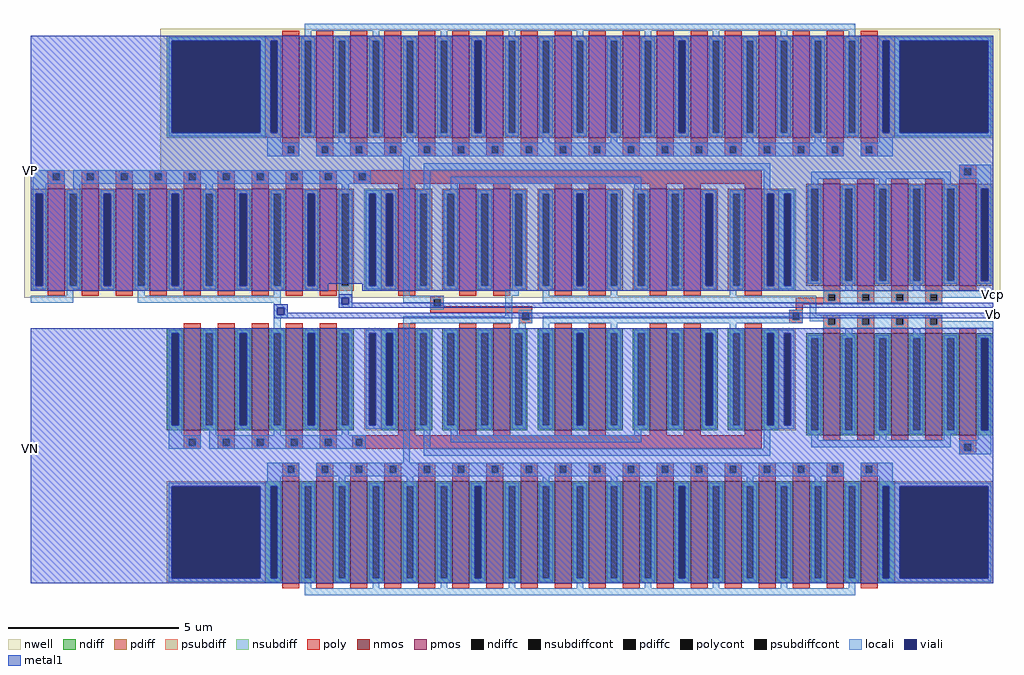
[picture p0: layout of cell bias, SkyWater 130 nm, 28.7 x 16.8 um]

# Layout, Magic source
magic
tech sky130A
<< nwell >>
rect -360 1175 2110 1590
rect -760 800 2110 1175
<< nmos >>
rect -290 410 -240 710
rect -190 410 -140 710
rect -90 410 -40 710
rect 10 410 60 710
rect 110 410 160 710
rect 340 410 390 710
rect 520 410 570 710
rect 620 410 670 710
rect 800 410 850 710
rect 900 410 950 710
rect 1080 410 1130 710
rect 1180 410 1230 710
rect 1360 410 1410 710
rect 1590 395 1640 695
rect 1690 395 1740 695
rect 1790 395 1840 695
rect 1890 395 1940 695
rect 1990 395 2040 695
rect 0 -40 50 260
rect 100 -40 150 260
rect 200 -40 250 260
rect 300 -40 350 260
rect 400 -40 450 260
rect 500 -40 550 260
rect 600 -40 650 260
rect 700 -40 750 260
rect 800 -40 850 260
rect 900 -40 950 260
rect 1000 -40 1050 260
rect 1100 -40 1150 260
rect 1200 -40 1250 260
rect 1300 -40 1350 260
rect 1400 -40 1450 260
rect 1500 -40 1550 260
rect 1600 -40 1650 260
rect 1700 -40 1750 260
<< pmos >>
rect 0 1270 50 1570
rect 100 1270 150 1570
rect 200 1270 250 1570
rect 300 1270 350 1570
rect 400 1270 450 1570
rect 500 1270 550 1570
rect 600 1270 650 1570
rect 700 1270 750 1570
rect 800 1270 850 1570
rect 900 1270 950 1570
rect 1000 1270 1050 1570
rect 1100 1270 1150 1570
rect 1200 1270 1250 1570
rect 1300 1270 1350 1570
rect 1400 1270 1450 1570
rect 1500 1270 1550 1570
rect 1600 1270 1650 1570
rect 1700 1270 1750 1570
rect -690 820 -640 1120
rect -590 820 -540 1120
rect -490 820 -440 1120
rect -390 820 -340 1120
rect -290 820 -240 1120
rect -190 820 -140 1120
rect -90 820 -40 1120
rect 10 820 60 1120
rect 110 820 160 1120
rect 340 820 390 1120
rect 520 820 570 1120
rect 620 820 670 1120
rect 800 820 850 1120
rect 900 820 950 1120
rect 1080 820 1130 1120
rect 1180 820 1230 1120
rect 1360 820 1410 1120
rect 1590 835 1640 1135
rect 1690 835 1740 1135
rect 1790 835 1840 1135
rect 1890 835 1940 1135
rect 1990 835 2040 1135
<< ndiff >>
rect -340 695 -290 710
rect -340 425 -325 695
rect -305 425 -290 695
rect -340 410 -290 425
rect -240 695 -190 710
rect -240 425 -225 695
rect -205 425 -190 695
rect -240 410 -190 425
rect -140 695 -90 710
rect -140 425 -125 695
rect -105 425 -90 695
rect -140 410 -90 425
rect -40 695 10 710
rect -40 425 -25 695
rect -5 425 10 695
rect -40 410 10 425
rect 60 695 110 710
rect 60 425 75 695
rect 95 425 110 695
rect 60 410 110 425
rect 160 695 210 710
rect 160 425 175 695
rect 195 425 210 695
rect 160 410 210 425
rect 290 695 340 710
rect 290 425 305 695
rect 325 425 340 695
rect 290 410 340 425
rect 390 695 440 710
rect 390 425 405 695
rect 425 425 440 695
rect 390 410 440 425
rect 470 695 520 710
rect 470 425 485 695
rect 505 425 520 695
rect 470 410 520 425
rect 570 695 620 710
rect 570 425 585 695
rect 605 425 620 695
rect 570 410 620 425
rect 670 695 720 710
rect 670 425 685 695
rect 705 425 720 695
rect 670 410 720 425
rect 750 695 800 710
rect 750 425 765 695
rect 785 425 800 695
rect 750 410 800 425
rect 850 695 900 710
rect 850 425 865 695
rect 885 425 900 695
rect 850 410 900 425
rect 950 695 1000 710
rect 950 425 965 695
rect 985 425 1000 695
rect 950 410 1000 425
rect 1030 695 1080 710
rect 1030 425 1045 695
rect 1065 425 1080 695
rect 1030 410 1080 425
rect 1130 695 1180 710
rect 1130 425 1145 695
rect 1165 425 1180 695
rect 1130 410 1180 425
rect 1230 695 1280 710
rect 1230 425 1245 695
rect 1265 425 1280 695
rect 1230 410 1280 425
rect 1310 695 1360 710
rect 1310 425 1325 695
rect 1345 425 1360 695
rect 1310 410 1360 425
rect 1410 695 1460 710
rect 1410 425 1425 695
rect 1445 425 1460 695
rect 1410 410 1460 425
rect 1540 680 1590 695
rect 1540 410 1555 680
rect 1575 410 1590 680
rect 1540 395 1590 410
rect 1640 680 1690 695
rect 1640 410 1655 680
rect 1675 410 1690 680
rect 1640 395 1690 410
rect 1740 680 1790 695
rect 1740 410 1755 680
rect 1775 410 1790 680
rect 1740 395 1790 410
rect 1840 680 1890 695
rect 1840 410 1855 680
rect 1875 410 1890 680
rect 1840 395 1890 410
rect 1940 680 1990 695
rect 1940 410 1955 680
rect 1975 410 1990 680
rect 1940 395 1990 410
rect 2040 680 2090 695
rect 2040 410 2055 680
rect 2075 410 2090 680
rect 2040 395 2090 410
rect -50 245 0 260
rect -50 -25 -35 245
rect -15 -25 0 245
rect -50 -40 0 -25
rect 50 245 100 260
rect 50 -25 65 245
rect 85 -25 100 245
rect 50 -40 100 -25
rect 150 245 200 260
rect 150 -25 165 245
rect 185 -25 200 245
rect 150 -40 200 -25
rect 250 245 300 260
rect 250 -25 265 245
rect 285 -25 300 245
rect 250 -40 300 -25
rect 350 245 400 260
rect 350 -25 365 245
rect 385 -25 400 245
rect 350 -40 400 -25
rect 450 245 500 260
rect 450 -25 465 245
rect 485 -25 500 245
rect 450 -40 500 -25
rect 550 245 600 260
rect 550 -25 565 245
rect 585 -25 600 245
rect 550 -40 600 -25
rect 650 245 700 260
rect 650 -25 665 245
rect 685 -25 700 245
rect 650 -40 700 -25
rect 750 245 800 260
rect 750 -25 765 245
rect 785 -25 800 245
rect 750 -40 800 -25
rect 850 245 900 260
rect 850 -25 865 245
rect 885 -25 900 245
rect 850 -40 900 -25
rect 950 245 1000 260
rect 950 -25 965 245
rect 985 -25 1000 245
rect 950 -40 1000 -25
rect 1050 245 1100 260
rect 1050 -25 1065 245
rect 1085 -25 1100 245
rect 1050 -40 1100 -25
rect 1150 245 1200 260
rect 1150 -25 1165 245
rect 1185 -25 1200 245
rect 1150 -40 1200 -25
rect 1250 245 1300 260
rect 1250 -25 1265 245
rect 1285 -25 1300 245
rect 1250 -40 1300 -25
rect 1350 245 1400 260
rect 1350 -25 1365 245
rect 1385 -25 1400 245
rect 1350 -40 1400 -25
rect 1450 245 1500 260
rect 1450 -25 1465 245
rect 1485 -25 1500 245
rect 1450 -40 1500 -25
rect 1550 245 1600 260
rect 1550 -25 1565 245
rect 1585 -25 1600 245
rect 1550 -40 1600 -25
rect 1650 245 1700 260
rect 1650 -25 1665 245
rect 1685 -25 1700 245
rect 1650 -40 1700 -25
rect 1750 245 1800 260
rect 1750 -25 1765 245
rect 1785 -25 1800 245
rect 1750 -40 1800 -25
<< pdiff >>
rect -50 1555 0 1570
rect -50 1285 -35 1555
rect -15 1285 0 1555
rect -50 1270 0 1285
rect 50 1555 100 1570
rect 50 1285 65 1555
rect 85 1285 100 1555
rect 50 1270 100 1285
rect 150 1555 200 1570
rect 150 1285 165 1555
rect 185 1285 200 1555
rect 150 1270 200 1285
rect 250 1555 300 1570
rect 250 1285 265 1555
rect 285 1285 300 1555
rect 250 1270 300 1285
rect 350 1555 400 1570
rect 350 1285 365 1555
rect 385 1285 400 1555
rect 350 1270 400 1285
rect 450 1555 500 1570
rect 450 1285 465 1555
rect 485 1285 500 1555
rect 450 1270 500 1285
rect 550 1555 600 1570
rect 550 1285 565 1555
rect 585 1285 600 1555
rect 550 1270 600 1285
rect 650 1555 700 1570
rect 650 1285 665 1555
rect 685 1285 700 1555
rect 650 1270 700 1285
rect 750 1555 800 1570
rect 750 1285 765 1555
rect 785 1285 800 1555
rect 750 1270 800 1285
rect 850 1555 900 1570
rect 850 1285 865 1555
rect 885 1285 900 1555
rect 850 1270 900 1285
rect 950 1555 1000 1570
rect 950 1285 965 1555
rect 985 1285 1000 1555
rect 950 1270 1000 1285
rect 1050 1555 1100 1570
rect 1050 1285 1065 1555
rect 1085 1285 1100 1555
rect 1050 1270 1100 1285
rect 1150 1555 1200 1570
rect 1150 1285 1165 1555
rect 1185 1285 1200 1555
rect 1150 1270 1200 1285
rect 1250 1555 1300 1570
rect 1250 1285 1265 1555
rect 1285 1285 1300 1555
rect 1250 1270 1300 1285
rect 1350 1555 1400 1570
rect 1350 1285 1365 1555
rect 1385 1285 1400 1555
rect 1350 1270 1400 1285
rect 1450 1555 1500 1570
rect 1450 1285 1465 1555
rect 1485 1285 1500 1555
rect 1450 1270 1500 1285
rect 1550 1555 1600 1570
rect 1550 1285 1565 1555
rect 1585 1285 1600 1555
rect 1550 1270 1600 1285
rect 1650 1555 1700 1570
rect 1650 1285 1665 1555
rect 1685 1285 1700 1555
rect 1650 1270 1700 1285
rect 1750 1555 1800 1570
rect 1750 1285 1765 1555
rect 1785 1285 1800 1555
rect 1750 1270 1800 1285
rect 1540 1120 1590 1135
rect -740 1105 -690 1120
rect -740 835 -725 1105
rect -705 835 -690 1105
rect -740 820 -690 835
rect -640 1105 -590 1120
rect -640 835 -625 1105
rect -605 835 -590 1105
rect -640 820 -590 835
rect -540 1105 -490 1120
rect -540 835 -525 1105
rect -505 835 -490 1105
rect -540 820 -490 835
rect -440 1105 -390 1120
rect -440 835 -425 1105
rect -405 835 -390 1105
rect -440 820 -390 835
rect -340 1105 -290 1120
rect -340 835 -325 1105
rect -305 835 -290 1105
rect -340 820 -290 835
rect -240 1105 -190 1120
rect -240 835 -225 1105
rect -205 835 -190 1105
rect -240 820 -190 835
rect -140 1105 -90 1120
rect -140 835 -125 1105
rect -105 835 -90 1105
rect -140 820 -90 835
rect -40 1105 10 1120
rect -40 835 -25 1105
rect -5 835 10 1105
rect -40 820 10 835
rect 60 1105 110 1120
rect 60 835 75 1105
rect 95 835 110 1105
rect 60 820 110 835
rect 160 1105 210 1120
rect 160 835 175 1105
rect 195 835 210 1105
rect 160 820 210 835
rect 290 1105 340 1120
rect 290 835 305 1105
rect 325 835 340 1105
rect 290 820 340 835
rect 390 1105 440 1120
rect 390 835 405 1105
rect 425 835 440 1105
rect 390 820 440 835
rect 470 1105 520 1120
rect 470 835 485 1105
rect 505 835 520 1105
rect 470 820 520 835
rect 570 1105 620 1120
rect 570 835 585 1105
rect 605 835 620 1105
rect 570 820 620 835
rect 670 1105 720 1120
rect 670 835 685 1105
rect 705 835 720 1105
rect 670 820 720 835
rect 750 1105 800 1120
rect 750 835 765 1105
rect 785 835 800 1105
rect 750 820 800 835
rect 850 1105 900 1120
rect 850 835 865 1105
rect 885 835 900 1105
rect 850 820 900 835
rect 950 1105 1000 1120
rect 950 835 965 1105
rect 985 835 1000 1105
rect 950 820 1000 835
rect 1030 1105 1080 1120
rect 1030 835 1045 1105
rect 1065 835 1080 1105
rect 1030 820 1080 835
rect 1130 1105 1180 1120
rect 1130 835 1145 1105
rect 1165 835 1180 1105
rect 1130 820 1180 835
rect 1230 1105 1280 1120
rect 1230 835 1245 1105
rect 1265 835 1280 1105
rect 1230 820 1280 835
rect 1310 1105 1360 1120
rect 1310 835 1325 1105
rect 1345 835 1360 1105
rect 1310 820 1360 835
rect 1410 1105 1460 1120
rect 1410 835 1425 1105
rect 1445 835 1460 1105
rect 1540 850 1555 1120
rect 1575 850 1590 1120
rect 1540 835 1590 850
rect 1640 1120 1690 1135
rect 1640 850 1655 1120
rect 1675 850 1690 1120
rect 1640 835 1690 850
rect 1740 1120 1790 1135
rect 1740 850 1755 1120
rect 1775 850 1790 1120
rect 1740 835 1790 850
rect 1840 1120 1890 1135
rect 1840 850 1855 1120
rect 1875 850 1890 1120
rect 1840 835 1890 850
rect 1940 1120 1990 1135
rect 1940 850 1955 1120
rect 1975 850 1990 1120
rect 1940 835 1990 850
rect 2040 1120 2090 1135
rect 2040 850 2055 1120
rect 2075 850 2090 1120
rect 2040 835 2090 850
rect 1410 820 1460 835
<< ndiffc >>
rect -325 425 -305 695
rect -225 425 -205 695
rect -125 425 -105 695
rect -25 425 -5 695
rect 75 425 95 695
rect 175 425 195 695
rect 305 425 325 695
rect 405 425 425 695
rect 485 425 505 695
rect 585 425 605 695
rect 685 425 705 695
rect 765 425 785 695
rect 865 425 885 695
rect 965 425 985 695
rect 1045 425 1065 695
rect 1145 425 1165 695
rect 1245 425 1265 695
rect 1325 425 1345 695
rect 1425 425 1445 695
rect 1555 410 1575 680
rect 1655 410 1675 680
rect 1755 410 1775 680
rect 1855 410 1875 680
rect 1955 410 1975 680
rect 2055 410 2075 680
rect -35 -25 -15 245
rect 65 -25 85 245
rect 165 -25 185 245
rect 265 -25 285 245
rect 365 -25 385 245
rect 465 -25 485 245
rect 565 -25 585 245
rect 665 -25 685 245
rect 765 -25 785 245
rect 865 -25 885 245
rect 965 -25 985 245
rect 1065 -25 1085 245
rect 1165 -25 1185 245
rect 1265 -25 1285 245
rect 1365 -25 1385 245
rect 1465 -25 1485 245
rect 1565 -25 1585 245
rect 1665 -25 1685 245
rect 1765 -25 1785 245
<< pdiffc >>
rect -35 1285 -15 1555
rect 65 1285 85 1555
rect 165 1285 185 1555
rect 265 1285 285 1555
rect 365 1285 385 1555
rect 465 1285 485 1555
rect 565 1285 585 1555
rect 665 1285 685 1555
rect 765 1285 785 1555
rect 865 1285 885 1555
rect 965 1285 985 1555
rect 1065 1285 1085 1555
rect 1165 1285 1185 1555
rect 1265 1285 1285 1555
rect 1365 1285 1385 1555
rect 1465 1285 1485 1555
rect 1565 1285 1585 1555
rect 1665 1285 1685 1555
rect 1765 1285 1785 1555
rect -725 835 -705 1105
rect -625 835 -605 1105
rect -525 835 -505 1105
rect -425 835 -405 1105
rect -325 835 -305 1105
rect -225 835 -205 1105
rect -125 835 -105 1105
rect -25 835 -5 1105
rect 75 835 95 1105
rect 175 835 195 1105
rect 305 835 325 1105
rect 405 835 425 1105
rect 485 835 505 1105
rect 585 835 605 1105
rect 685 835 705 1105
rect 765 835 785 1105
rect 865 835 885 1105
rect 965 835 985 1105
rect 1045 835 1065 1105
rect 1145 835 1165 1105
rect 1245 835 1265 1105
rect 1325 835 1345 1105
rect 1425 835 1445 1105
rect 1555 850 1575 1120
rect 1655 850 1675 1120
rect 1755 850 1775 1120
rect 1855 850 1875 1120
rect 1955 850 1975 1120
rect 2055 850 2075 1120
<< psubdiff >>
rect 240 695 290 710
rect 240 425 255 695
rect 275 425 290 695
rect 240 410 290 425
rect 1460 695 1510 710
rect 1460 425 1475 695
rect 1495 425 1510 695
rect 1460 410 1510 425
rect -340 245 -50 260
rect -340 -25 -325 245
rect -65 -25 -50 245
rect -340 -40 -50 -25
rect 1800 245 2090 260
rect 1800 -25 1815 245
rect 2075 -25 2090 245
rect 1800 -40 2090 -25
<< nsubdiff >>
rect -340 1555 -50 1570
rect -340 1285 -325 1555
rect -65 1285 -50 1555
rect -340 1270 -50 1285
rect 1800 1555 2090 1570
rect 1800 1285 1815 1555
rect 2075 1285 2090 1555
rect 1800 1270 2090 1285
rect 240 1105 290 1120
rect 240 835 255 1105
rect 275 835 290 1105
rect 240 820 290 835
rect 1460 1105 1510 1120
rect 1460 835 1475 1105
rect 1495 835 1510 1105
rect 1460 820 1510 835
<< psubdiffcont >>
rect 255 425 275 695
rect 1475 425 1495 695
rect -325 -25 -65 245
rect 1815 -25 2075 245
<< nsubdiffcont >>
rect -325 1285 -65 1555
rect 1815 1285 2075 1555
rect 255 835 275 1105
rect 1475 835 1495 1105
<< poly >>
rect 0 1570 50 1585
rect 100 1570 150 1585
rect 200 1570 250 1585
rect 300 1570 350 1585
rect 400 1570 450 1585
rect 500 1570 550 1585
rect 600 1570 650 1585
rect 700 1570 750 1585
rect 800 1570 850 1585
rect 900 1570 950 1585
rect 1000 1570 1050 1585
rect 1100 1570 1150 1585
rect 1200 1570 1250 1585
rect 1300 1570 1350 1585
rect 1400 1570 1450 1585
rect 1500 1570 1550 1585
rect 1600 1570 1650 1585
rect 1700 1570 1750 1585
rect 0 1245 50 1270
rect 0 1225 15 1245
rect 35 1225 50 1245
rect 0 1215 50 1225
rect 100 1245 150 1270
rect 100 1225 115 1245
rect 135 1225 150 1245
rect 100 1215 150 1225
rect 200 1245 250 1270
rect 200 1225 215 1245
rect 235 1225 250 1245
rect 200 1215 250 1225
rect 300 1245 350 1270
rect 300 1225 315 1245
rect 335 1225 350 1245
rect 300 1215 350 1225
rect 400 1245 450 1270
rect 400 1225 415 1245
rect 435 1225 450 1245
rect 400 1215 450 1225
rect 500 1245 550 1270
rect 500 1225 515 1245
rect 535 1225 550 1245
rect 500 1215 550 1225
rect 600 1245 650 1270
rect 600 1225 615 1245
rect 635 1225 650 1245
rect 600 1215 650 1225
rect 700 1245 750 1270
rect 700 1225 715 1245
rect 735 1225 750 1245
rect 700 1215 750 1225
rect 800 1245 850 1270
rect 800 1225 815 1245
rect 835 1225 850 1245
rect 800 1215 850 1225
rect 900 1245 950 1270
rect 900 1225 915 1245
rect 935 1225 950 1245
rect 900 1215 950 1225
rect 1000 1245 1050 1270
rect 1000 1225 1015 1245
rect 1035 1225 1050 1245
rect 1000 1215 1050 1225
rect 1100 1245 1150 1270
rect 1100 1225 1115 1245
rect 1135 1225 1150 1245
rect 1100 1215 1150 1225
rect 1200 1245 1250 1270
rect 1200 1225 1215 1245
rect 1235 1225 1250 1245
rect 1200 1215 1250 1225
rect 1300 1245 1350 1270
rect 1300 1225 1315 1245
rect 1335 1225 1350 1245
rect 1300 1215 1350 1225
rect 1400 1245 1450 1270
rect 1400 1225 1415 1245
rect 1435 1225 1450 1245
rect 1400 1215 1450 1225
rect 1500 1245 1550 1270
rect 1500 1225 1515 1245
rect 1535 1225 1550 1245
rect 1500 1215 1550 1225
rect 1600 1245 1650 1270
rect 1600 1225 1615 1245
rect 1635 1225 1650 1245
rect 1600 1215 1650 1225
rect 1700 1245 1750 1270
rect 1700 1225 1715 1245
rect 1735 1225 1750 1245
rect 1700 1215 1750 1225
rect 1990 1180 2040 1190
rect -690 1165 -640 1175
rect -690 1145 -675 1165
rect -655 1145 -640 1165
rect -690 1120 -640 1145
rect -590 1165 -540 1175
rect -590 1145 -575 1165
rect -555 1145 -540 1165
rect -590 1120 -540 1145
rect -490 1165 -440 1175
rect -490 1145 -475 1165
rect -455 1145 -440 1165
rect -490 1120 -440 1145
rect -390 1165 -340 1175
rect -390 1145 -375 1165
rect -355 1145 -340 1165
rect -390 1120 -340 1145
rect -290 1165 -240 1175
rect -290 1145 -275 1165
rect -255 1145 -240 1165
rect -290 1120 -240 1145
rect -190 1165 -140 1175
rect -190 1145 -175 1165
rect -155 1145 -140 1165
rect -190 1120 -140 1145
rect -90 1165 -40 1175
rect -90 1145 -75 1165
rect -55 1145 -40 1165
rect -90 1120 -40 1145
rect 10 1165 60 1175
rect 10 1145 25 1165
rect 45 1145 60 1165
rect 10 1120 60 1145
rect 110 1165 160 1175
rect 110 1145 125 1165
rect 145 1145 160 1165
rect 110 1120 160 1145
rect 210 1165 1410 1175
rect 210 1145 225 1165
rect 245 1145 1410 1165
rect 1990 1160 2005 1180
rect 2025 1160 2040 1180
rect 210 1135 1410 1145
rect 1590 1135 1640 1150
rect 1690 1135 1740 1150
rect 1790 1135 1840 1150
rect 1890 1135 1940 1150
rect 1990 1135 2040 1160
rect 340 1120 390 1135
rect 520 1120 570 1135
rect 620 1120 670 1135
rect 800 1120 850 1135
rect 900 1120 950 1135
rect 1080 1120 1130 1135
rect 1180 1120 1230 1135
rect 1360 1120 1410 1135
rect -690 805 -640 820
rect -590 805 -540 820
rect -490 805 -440 820
rect -390 805 -340 820
rect -290 805 -240 820
rect -190 805 -140 820
rect -90 805 -40 820
rect 10 805 60 820
rect 110 805 160 820
rect 340 805 390 820
rect 520 805 570 820
rect 620 805 670 820
rect 800 805 850 820
rect 900 805 950 820
rect 1080 805 1130 820
rect 1180 805 1230 820
rect 1360 805 1410 820
rect 1590 810 1640 835
rect 435 795 475 805
rect 1590 800 1605 810
rect 435 775 445 795
rect 465 775 475 795
rect 1510 790 1605 800
rect 1625 790 1640 810
rect 1510 780 1640 790
rect 1690 810 1740 835
rect 1690 790 1705 810
rect 1725 790 1740 810
rect 1690 780 1740 790
rect 1790 810 1840 835
rect 1790 790 1805 810
rect 1825 790 1840 810
rect 1790 780 1840 790
rect 1890 810 1940 835
rect 1990 820 2040 835
rect 1890 790 1905 810
rect 1925 790 1940 810
rect 1890 780 1940 790
rect 435 755 735 775
rect 1510 765 1530 780
rect 695 735 705 755
rect 725 735 735 755
rect 695 725 735 735
rect 1490 755 1530 765
rect 1490 735 1500 755
rect 1520 735 1530 755
rect 1490 725 1530 735
rect 1590 740 1640 750
rect -290 710 -240 725
rect -190 710 -140 725
rect -90 710 -40 725
rect 10 710 60 725
rect 110 710 160 725
rect 340 710 390 725
rect 520 710 570 725
rect 620 710 670 725
rect 800 710 850 725
rect 900 710 950 725
rect 1080 710 1130 725
rect 1180 710 1230 725
rect 1360 710 1410 725
rect 1590 720 1605 740
rect 1625 720 1640 740
rect 1590 695 1640 720
rect 1690 740 1740 750
rect 1690 720 1705 740
rect 1725 720 1740 740
rect 1690 695 1740 720
rect 1790 740 1840 750
rect 1790 720 1805 740
rect 1825 720 1840 740
rect 1790 695 1840 720
rect 1890 740 1940 750
rect 1890 720 1905 740
rect 1925 720 1940 740
rect 1890 695 1940 720
rect 1990 695 2040 710
rect -290 385 -240 410
rect -290 365 -275 385
rect -255 365 -240 385
rect -290 355 -240 365
rect -190 385 -140 410
rect -190 365 -175 385
rect -155 365 -140 385
rect -190 355 -140 365
rect -90 385 -40 410
rect -90 365 -75 385
rect -55 365 -40 385
rect -90 355 -40 365
rect 10 385 60 410
rect 10 365 25 385
rect 45 365 60 385
rect 10 355 60 365
rect 110 385 160 410
rect 340 395 390 410
rect 520 395 570 410
rect 620 395 670 410
rect 800 395 850 410
rect 900 395 950 410
rect 1080 395 1130 410
rect 1180 395 1230 410
rect 1360 395 1410 410
rect 110 365 125 385
rect 145 365 160 385
rect 110 355 160 365
rect 205 385 1410 395
rect 205 365 215 385
rect 235 365 1410 385
rect 1590 380 1640 395
rect 1690 380 1740 395
rect 1790 380 1840 395
rect 1890 380 1940 395
rect 205 355 1410 365
rect 1990 370 2040 395
rect 1990 350 2005 370
rect 2025 350 2040 370
rect 1990 340 2040 350
rect 0 305 50 315
rect 0 285 15 305
rect 35 285 50 305
rect 0 260 50 285
rect 100 305 150 315
rect 100 285 115 305
rect 135 285 150 305
rect 100 260 150 285
rect 200 305 250 315
rect 200 285 215 305
rect 235 285 250 305
rect 200 260 250 285
rect 300 305 350 315
rect 300 285 315 305
rect 335 285 350 305
rect 300 260 350 285
rect 400 305 450 315
rect 400 285 415 305
rect 435 285 450 305
rect 400 260 450 285
rect 500 305 550 315
rect 500 285 515 305
rect 535 285 550 305
rect 500 260 550 285
rect 600 305 650 315
rect 600 285 615 305
rect 635 285 650 305
rect 600 260 650 285
rect 700 305 750 315
rect 700 285 715 305
rect 735 285 750 305
rect 700 260 750 285
rect 800 305 850 315
rect 800 285 815 305
rect 835 285 850 305
rect 800 260 850 285
rect 900 305 950 315
rect 900 285 915 305
rect 935 285 950 305
rect 900 260 950 285
rect 1000 305 1050 315
rect 1000 285 1015 305
rect 1035 285 1050 305
rect 1000 260 1050 285
rect 1100 305 1150 315
rect 1100 285 1115 305
rect 1135 285 1150 305
rect 1100 260 1150 285
rect 1200 305 1250 315
rect 1200 285 1215 305
rect 1235 285 1250 305
rect 1200 260 1250 285
rect 1300 305 1350 315
rect 1300 285 1315 305
rect 1335 285 1350 305
rect 1300 260 1350 285
rect 1400 305 1450 315
rect 1400 285 1415 305
rect 1435 285 1450 305
rect 1400 260 1450 285
rect 1500 305 1550 315
rect 1500 285 1515 305
rect 1535 285 1550 305
rect 1500 260 1550 285
rect 1600 305 1650 315
rect 1600 285 1615 305
rect 1635 285 1650 305
rect 1600 260 1650 285
rect 1700 305 1750 315
rect 1700 285 1715 305
rect 1735 285 1750 305
rect 1700 260 1750 285
rect 0 -55 50 -40
rect 100 -55 150 -40
rect 200 -55 250 -40
rect 300 -55 350 -40
rect 400 -55 450 -40
rect 500 -55 550 -40
rect 600 -55 650 -40
rect 700 -55 750 -40
rect 800 -55 850 -40
rect 900 -55 950 -40
rect 1000 -55 1050 -40
rect 1100 -55 1150 -40
rect 1200 -55 1250 -40
rect 1300 -55 1350 -40
rect 1400 -55 1450 -40
rect 1500 -55 1550 -40
rect 1600 -55 1650 -40
rect 1700 -55 1750 -40
<< polycont >>
rect 15 1225 35 1245
rect 115 1225 135 1245
rect 215 1225 235 1245
rect 315 1225 335 1245
rect 415 1225 435 1245
rect 515 1225 535 1245
rect 615 1225 635 1245
rect 715 1225 735 1245
rect 815 1225 835 1245
rect 915 1225 935 1245
rect 1015 1225 1035 1245
rect 1115 1225 1135 1245
rect 1215 1225 1235 1245
rect 1315 1225 1335 1245
rect 1415 1225 1435 1245
rect 1515 1225 1535 1245
rect 1615 1225 1635 1245
rect 1715 1225 1735 1245
rect -675 1145 -655 1165
rect -575 1145 -555 1165
rect -475 1145 -455 1165
rect -375 1145 -355 1165
rect -275 1145 -255 1165
rect -175 1145 -155 1165
rect -75 1145 -55 1165
rect 25 1145 45 1165
rect 125 1145 145 1165
rect 225 1145 245 1165
rect 2005 1160 2025 1180
rect 445 775 465 795
rect 1605 790 1625 810
rect 1705 790 1725 810
rect 1805 790 1825 810
rect 1905 790 1925 810
rect 705 735 725 755
rect 1500 735 1520 755
rect 1605 720 1625 740
rect 1705 720 1725 740
rect 1805 720 1825 740
rect 1905 720 1925 740
rect -275 365 -255 385
rect -175 365 -155 385
rect -75 365 -55 385
rect 25 365 45 385
rect 125 365 145 385
rect 215 365 235 385
rect 2005 350 2025 370
rect 15 285 35 305
rect 115 285 135 305
rect 215 285 235 305
rect 315 285 335 305
rect 415 285 435 305
rect 515 285 535 305
rect 615 285 635 305
rect 715 285 735 305
rect 815 285 835 305
rect 915 285 935 305
rect 1015 285 1035 305
rect 1115 285 1135 305
rect 1215 285 1235 305
rect 1315 285 1335 305
rect 1415 285 1435 305
rect 1515 285 1535 305
rect 1615 285 1635 305
rect 1715 285 1735 305
<< locali >>
rect 65 1585 1685 1605
rect 65 1565 85 1585
rect 265 1565 285 1585
rect 465 1565 485 1585
rect 665 1565 685 1585
rect 865 1565 885 1585
rect 1065 1565 1085 1585
rect 1265 1565 1285 1585
rect 1465 1565 1485 1585
rect 1665 1565 1685 1585
rect -335 1555 -5 1565
rect -335 1285 -325 1555
rect -65 1285 -35 1555
rect -15 1285 -5 1555
rect -335 1275 -5 1285
rect 55 1555 95 1565
rect 55 1285 65 1555
rect 85 1285 95 1555
rect 55 1275 95 1285
rect 155 1555 195 1565
rect 155 1285 165 1555
rect 185 1285 195 1555
rect 155 1275 195 1285
rect 255 1555 295 1565
rect 255 1285 265 1555
rect 285 1285 295 1555
rect 255 1275 295 1285
rect 355 1555 395 1565
rect 355 1285 365 1555
rect 385 1285 395 1555
rect 355 1275 395 1285
rect 455 1555 495 1565
rect 455 1285 465 1555
rect 485 1285 495 1555
rect 455 1275 495 1285
rect 555 1555 595 1565
rect 555 1285 565 1555
rect 585 1285 595 1555
rect 555 1275 595 1285
rect 655 1555 695 1565
rect 655 1285 665 1555
rect 685 1285 695 1555
rect 655 1275 695 1285
rect 755 1555 795 1565
rect 755 1285 765 1555
rect 785 1285 795 1555
rect 755 1275 795 1285
rect 855 1555 895 1565
rect 855 1285 865 1555
rect 885 1285 895 1555
rect 855 1275 895 1285
rect 955 1555 995 1565
rect 955 1285 965 1555
rect 985 1285 995 1555
rect 955 1275 995 1285
rect 1055 1555 1095 1565
rect 1055 1285 1065 1555
rect 1085 1285 1095 1555
rect 1055 1275 1095 1285
rect 1155 1555 1195 1565
rect 1155 1285 1165 1555
rect 1185 1285 1195 1555
rect 1155 1275 1195 1285
rect 1255 1555 1295 1565
rect 1255 1285 1265 1555
rect 1285 1285 1295 1555
rect 1255 1275 1295 1285
rect 1355 1555 1395 1565
rect 1355 1285 1365 1555
rect 1385 1285 1395 1555
rect 1355 1275 1395 1285
rect 1455 1555 1495 1565
rect 1455 1285 1465 1555
rect 1485 1285 1495 1555
rect 1455 1275 1495 1285
rect 1555 1555 1595 1565
rect 1555 1285 1565 1555
rect 1585 1285 1595 1555
rect 1555 1275 1595 1285
rect 1655 1555 1695 1565
rect 1655 1285 1665 1555
rect 1685 1285 1695 1555
rect 1655 1275 1695 1285
rect 1755 1555 2085 1565
rect 1755 1285 1765 1555
rect 1785 1285 1815 1555
rect 2075 1285 2085 1555
rect 1755 1275 2085 1285
rect -45 1255 -5 1275
rect 165 1255 185 1275
rect 365 1255 385 1275
rect 765 1255 785 1275
rect 965 1255 985 1275
rect 1365 1255 1385 1275
rect 1565 1255 1585 1275
rect 1755 1255 1795 1275
rect -45 1245 50 1255
rect -45 1225 15 1245
rect 35 1225 50 1245
rect -45 1215 50 1225
rect 100 1245 1650 1255
rect 100 1225 115 1245
rect 135 1225 215 1245
rect 235 1225 315 1245
rect 335 1225 415 1245
rect 435 1225 515 1245
rect 535 1225 615 1245
rect 635 1225 715 1245
rect 735 1225 815 1245
rect 835 1225 915 1245
rect 935 1225 1015 1245
rect 1035 1225 1115 1245
rect 1135 1225 1215 1245
rect 1235 1225 1315 1245
rect 1335 1225 1415 1245
rect 1435 1225 1515 1245
rect 1535 1225 1615 1245
rect 1635 1225 1650 1245
rect 100 1215 1650 1225
rect 1700 1245 1795 1255
rect 1700 1225 1715 1245
rect 1735 1225 1795 1245
rect 1700 1215 1795 1225
rect -735 1165 -640 1175
rect -735 1145 -675 1165
rect -655 1145 -640 1165
rect -735 1135 -640 1145
rect -615 1165 260 1175
rect -615 1145 -575 1165
rect -555 1145 -475 1165
rect -455 1145 -375 1165
rect -355 1145 -275 1165
rect -255 1145 -175 1165
rect -155 1145 -75 1165
rect -55 1145 25 1165
rect 45 1145 125 1165
rect 145 1145 225 1165
rect 245 1145 260 1165
rect -615 1135 260 1145
rect -735 1105 -695 1135
rect -615 1115 -595 1135
rect -225 1115 -205 1135
rect 175 1115 195 1135
rect -735 835 -725 1105
rect -705 835 -695 1105
rect -735 825 -695 835
rect -635 1105 -595 1115
rect -635 835 -625 1105
rect -605 835 -595 1105
rect -635 825 -595 835
rect -535 1105 -495 1115
rect -535 835 -525 1105
rect -505 835 -495 1105
rect -535 825 -495 835
rect -435 1105 -395 1115
rect -435 835 -425 1105
rect -405 835 -395 1105
rect -435 825 -395 835
rect -335 1105 -295 1115
rect -335 835 -325 1105
rect -305 835 -295 1105
rect -335 825 -295 835
rect -235 1105 -195 1115
rect -235 835 -225 1105
rect -205 835 -195 1105
rect -235 825 -195 835
rect -135 1105 -95 1115
rect -135 835 -125 1105
rect -105 835 -95 1105
rect -135 825 -95 835
rect -35 1105 5 1115
rect -35 835 -25 1105
rect -5 835 5 1105
rect -35 825 5 835
rect 65 1105 105 1115
rect 65 835 75 1105
rect 95 835 105 1105
rect 65 825 105 835
rect 165 1105 205 1115
rect 165 835 175 1105
rect 195 835 205 1105
rect -635 805 -615 825
rect -740 785 -615 805
rect -425 805 -405 825
rect -25 805 -5 825
rect -425 785 -5 805
rect -25 780 -5 785
rect 165 800 205 835
rect 245 1105 335 1115
rect 245 835 255 1105
rect 275 835 305 1105
rect 325 835 335 1105
rect 245 825 335 835
rect 165 780 175 800
rect 195 780 205 800
rect 355 805 375 1215
rect 415 1175 1435 1195
rect 415 1115 435 1175
rect 495 1135 1055 1155
rect 495 1115 515 1135
rect 1035 1115 1055 1135
rect 1415 1115 1435 1175
rect 1990 1180 2085 1190
rect 1555 1150 1965 1170
rect 1990 1160 2005 1180
rect 2025 1160 2085 1180
rect 1990 1150 2085 1160
rect 1555 1130 1575 1150
rect 1755 1130 1775 1150
rect 1945 1130 1965 1150
rect 1545 1120 1585 1130
rect 395 1105 435 1115
rect 395 835 405 1105
rect 425 835 435 1105
rect 395 825 435 835
rect 475 1105 515 1115
rect 475 835 485 1105
rect 505 835 515 1105
rect 475 825 515 835
rect 575 1105 615 1115
rect 575 835 585 1105
rect 605 835 615 1105
rect 575 825 615 835
rect 675 1105 715 1115
rect 675 835 685 1105
rect 705 835 715 1105
rect 675 825 715 835
rect 755 1105 795 1115
rect 755 835 765 1105
rect 785 835 795 1105
rect 755 825 795 835
rect 855 1105 895 1115
rect 855 835 865 1105
rect 885 835 895 1105
rect 855 825 895 835
rect 955 1105 995 1115
rect 955 835 965 1105
rect 985 835 995 1105
rect 955 825 995 835
rect 1035 1105 1075 1115
rect 1035 835 1045 1105
rect 1065 835 1075 1105
rect 1035 825 1075 835
rect 1135 1105 1175 1115
rect 1135 835 1145 1105
rect 1165 835 1175 1105
rect 1135 825 1175 835
rect 1235 1105 1275 1115
rect 1235 835 1245 1105
rect 1265 835 1275 1105
rect 1235 825 1275 835
rect 1315 1105 1355 1115
rect 1315 835 1325 1105
rect 1345 835 1355 1105
rect 1315 825 1355 835
rect 1415 1105 1505 1115
rect 1415 835 1425 1105
rect 1445 835 1475 1105
rect 1495 835 1505 1105
rect 1545 850 1555 1120
rect 1575 850 1585 1120
rect 1545 840 1585 850
rect 1645 1120 1685 1130
rect 1645 850 1655 1120
rect 1675 850 1685 1120
rect 1645 840 1685 850
rect 1745 1120 1785 1130
rect 1745 850 1755 1120
rect 1775 850 1785 1120
rect 1745 840 1785 850
rect 1845 1120 1885 1130
rect 1845 850 1855 1120
rect 1875 850 1885 1120
rect 1845 840 1885 850
rect 1945 1120 1985 1130
rect 1945 850 1955 1120
rect 1975 850 1985 1120
rect 1945 840 1985 850
rect 2045 1120 2085 1150
rect 2045 850 2055 1120
rect 2075 850 2085 1120
rect 2045 840 2085 850
rect 1415 825 1505 835
rect 655 805 695 825
rect 765 805 785 825
rect 965 805 985 825
rect 1315 805 1335 825
rect 1655 820 1675 840
rect 1855 820 1875 840
rect 1590 810 2090 820
rect 355 795 475 805
rect 355 785 445 795
rect -25 770 15 780
rect 165 770 205 780
rect 435 775 445 785
rect 465 775 475 795
rect -25 750 -15 770
rect 5 750 15 770
rect 435 765 475 775
rect -25 740 15 750
rect 655 745 675 805
rect 765 785 1570 805
rect -25 705 -5 740
rect 355 725 675 745
rect 695 755 735 765
rect 695 735 705 755
rect 725 735 735 755
rect 1490 755 1530 765
rect 1490 745 1500 755
rect 695 725 735 735
rect 765 735 1500 745
rect 1520 735 1530 755
rect 765 725 1530 735
rect 1550 750 1570 785
rect 1590 790 1605 810
rect 1625 790 1705 810
rect 1725 790 1805 810
rect 1825 790 1905 810
rect 1925 800 2090 810
rect 1925 790 1940 800
rect 1590 780 1940 790
rect 1550 740 1940 750
rect 1550 730 1605 740
rect -335 695 -295 705
rect -335 425 -325 695
rect -305 425 -295 695
rect -335 395 -295 425
rect -235 695 -195 705
rect -235 425 -225 695
rect -205 425 -195 695
rect -235 415 -195 425
rect -135 695 -95 705
rect -135 425 -125 695
rect -105 425 -95 695
rect -135 415 -95 425
rect -35 695 5 705
rect -35 425 -25 695
rect -5 425 5 695
rect -35 415 5 425
rect 65 695 105 705
rect 65 425 75 695
rect 95 425 105 695
rect 65 415 105 425
rect 165 695 205 705
rect 165 425 175 695
rect 195 425 205 695
rect 165 415 205 425
rect 245 695 335 705
rect 245 425 255 695
rect 275 425 305 695
rect 325 425 335 695
rect 245 415 335 425
rect -215 395 -195 415
rect -25 395 -5 415
rect 175 395 195 415
rect -335 385 -240 395
rect -335 365 -275 385
rect -255 365 -240 385
rect -335 355 -240 365
rect -215 385 245 395
rect -215 365 -175 385
rect -155 365 -75 385
rect -55 365 25 385
rect 45 365 125 385
rect 145 365 215 385
rect 235 365 245 385
rect -215 355 245 365
rect 355 315 375 725
rect 695 705 715 725
rect 765 705 785 725
rect 965 705 985 725
rect 1315 705 1335 725
rect 1590 720 1605 730
rect 1625 720 1705 740
rect 1725 720 1805 740
rect 1825 720 1905 740
rect 1925 730 1940 740
rect 1925 720 2090 730
rect 1590 710 2090 720
rect 395 695 435 705
rect 395 425 405 695
rect 425 425 435 695
rect 395 415 435 425
rect 475 695 515 705
rect 475 425 485 695
rect 505 425 515 695
rect 475 415 515 425
rect 575 695 615 705
rect 575 425 585 695
rect 605 425 615 695
rect 575 415 615 425
rect 675 695 715 705
rect 675 425 685 695
rect 705 425 715 695
rect 675 415 715 425
rect 755 695 795 705
rect 755 425 765 695
rect 785 425 795 695
rect 755 415 795 425
rect 855 695 895 705
rect 855 425 865 695
rect 885 425 895 695
rect 855 415 895 425
rect 955 695 995 705
rect 955 425 965 695
rect 985 425 995 695
rect 955 415 995 425
rect 1035 695 1075 705
rect 1035 425 1045 695
rect 1065 425 1075 695
rect 1035 415 1075 425
rect 1135 695 1175 705
rect 1135 425 1145 695
rect 1165 425 1175 695
rect 1135 415 1175 425
rect 1235 695 1275 705
rect 1235 425 1245 695
rect 1265 425 1275 695
rect 1235 415 1275 425
rect 1315 695 1355 705
rect 1315 425 1325 695
rect 1345 425 1355 695
rect 1315 415 1355 425
rect 1415 695 1505 705
rect 1415 425 1425 695
rect 1445 425 1475 695
rect 1495 425 1505 695
rect 1655 690 1675 710
rect 1855 690 1875 710
rect 1415 415 1505 425
rect 1545 680 1585 690
rect 415 355 435 415
rect 495 395 515 415
rect 1035 395 1055 415
rect 495 375 1055 395
rect 1415 355 1435 415
rect 1545 410 1555 680
rect 1575 410 1585 680
rect 1545 400 1585 410
rect 1645 680 1685 690
rect 1645 410 1655 680
rect 1675 410 1685 680
rect 1645 400 1685 410
rect 1745 680 1785 690
rect 1745 410 1755 680
rect 1775 410 1785 680
rect 1745 400 1785 410
rect 1845 680 1885 690
rect 1845 410 1855 680
rect 1875 410 1885 680
rect 1845 400 1885 410
rect 1945 680 1985 690
rect 1945 410 1955 680
rect 1975 410 1985 680
rect 1945 400 1985 410
rect 2045 680 2085 690
rect 2045 410 2055 680
rect 2075 410 2085 680
rect 1555 380 1575 400
rect 1755 380 1775 400
rect 1945 380 1965 400
rect 2045 380 2085 410
rect 1555 360 1965 380
rect 1990 370 2085 380
rect 415 335 1435 355
rect 1990 350 2005 370
rect 2025 350 2085 370
rect 1990 340 2085 350
rect -45 305 50 315
rect -45 285 15 305
rect 35 285 50 305
rect -45 275 50 285
rect 100 305 1650 315
rect 100 285 115 305
rect 135 285 215 305
rect 235 285 315 305
rect 335 285 415 305
rect 435 285 515 305
rect 535 285 615 305
rect 635 285 715 305
rect 735 285 815 305
rect 835 285 915 305
rect 935 285 1015 305
rect 1035 285 1115 305
rect 1135 285 1215 305
rect 1235 285 1315 305
rect 1335 285 1415 305
rect 1435 285 1515 305
rect 1535 285 1615 305
rect 1635 285 1650 305
rect 100 275 1650 285
rect 1700 305 1795 315
rect 1700 285 1715 305
rect 1735 285 1795 305
rect 1700 275 1795 285
rect -45 255 -5 275
rect 165 255 185 275
rect 365 255 385 275
rect 765 255 785 275
rect 965 255 985 275
rect 1365 255 1385 275
rect 1565 255 1585 275
rect 1755 255 1795 275
rect -335 245 -5 255
rect -335 -25 -325 245
rect -65 -25 -35 245
rect -15 -25 -5 245
rect -335 -35 -5 -25
rect 55 245 95 255
rect 55 -25 65 245
rect 85 -25 95 245
rect 55 -35 95 -25
rect 155 245 195 255
rect 155 -25 165 245
rect 185 -25 195 245
rect 155 -35 195 -25
rect 255 245 295 255
rect 255 -25 265 245
rect 285 -25 295 245
rect 255 -35 295 -25
rect 355 245 395 255
rect 355 -25 365 245
rect 385 -25 395 245
rect 355 -35 395 -25
rect 455 245 495 255
rect 455 -25 465 245
rect 485 -25 495 245
rect 455 -35 495 -25
rect 555 245 595 255
rect 555 -25 565 245
rect 585 -25 595 245
rect 555 -35 595 -25
rect 655 245 695 255
rect 655 -25 665 245
rect 685 -25 695 245
rect 655 -35 695 -25
rect 755 245 795 255
rect 755 -25 765 245
rect 785 -25 795 245
rect 755 -35 795 -25
rect 855 245 895 255
rect 855 -25 865 245
rect 885 -25 895 245
rect 855 -35 895 -25
rect 955 245 995 255
rect 955 -25 965 245
rect 985 -25 995 245
rect 955 -35 995 -25
rect 1055 245 1095 255
rect 1055 -25 1065 245
rect 1085 -25 1095 245
rect 1055 -35 1095 -25
rect 1155 245 1195 255
rect 1155 -25 1165 245
rect 1185 -25 1195 245
rect 1155 -35 1195 -25
rect 1255 245 1295 255
rect 1255 -25 1265 245
rect 1285 -25 1295 245
rect 1255 -35 1295 -25
rect 1355 245 1395 255
rect 1355 -25 1365 245
rect 1385 -25 1395 245
rect 1355 -35 1395 -25
rect 1455 245 1495 255
rect 1455 -25 1465 245
rect 1485 -25 1495 245
rect 1455 -35 1495 -25
rect 1555 245 1595 255
rect 1555 -25 1565 245
rect 1585 -25 1595 245
rect 1555 -35 1595 -25
rect 1655 245 1695 255
rect 1655 -25 1665 245
rect 1685 -25 1695 245
rect 1655 -35 1695 -25
rect 1755 245 2085 255
rect 1755 -25 1765 245
rect 1785 -25 1815 245
rect 2075 -25 2085 245
rect 1755 -35 2085 -25
rect 65 -55 85 -35
rect 265 -55 285 -35
rect 465 -55 485 -35
rect 665 -55 685 -35
rect 865 -55 885 -35
rect 1065 -55 1085 -35
rect 1265 -55 1285 -35
rect 1465 -55 1485 -35
rect 1665 -55 1685 -35
rect 65 -75 1685 -55
<< viali >>
rect -325 1285 -65 1555
rect -35 1285 -15 1555
rect 565 1285 585 1555
rect 1165 1285 1185 1555
rect 1765 1285 1785 1555
rect 1815 1285 2075 1555
rect -725 835 -705 1105
rect -525 835 -505 1105
rect -325 835 -305 1105
rect -125 835 -105 1105
rect 75 835 95 1105
rect 255 835 275 1105
rect 305 835 325 1105
rect 175 780 195 800
rect 865 835 885 1105
rect 1245 835 1265 1105
rect 1425 835 1445 1105
rect 1475 835 1495 1105
rect 2055 850 2075 1120
rect -15 750 5 770
rect -325 425 -305 695
rect -125 425 -105 695
rect 75 425 95 695
rect 255 425 275 695
rect 305 425 325 695
rect 865 425 885 695
rect 1245 425 1265 695
rect 1425 425 1445 695
rect 1475 425 1495 695
rect 2055 410 2075 680
rect -325 -25 -65 245
rect -35 -25 -15 245
rect 565 -25 585 245
rect 1165 -25 1185 245
rect 1765 -25 1785 245
rect 1815 -25 2075 245
<< metal1 >>
rect -740 1555 2090 1570
rect -740 1285 -325 1555
rect -65 1285 -35 1555
rect -15 1285 565 1555
rect 585 1285 1165 1555
rect 1185 1285 1765 1555
rect 1785 1285 1815 1555
rect 2075 1285 2090 1555
rect -740 1120 2090 1285
rect -740 1105 2055 1120
rect -740 835 -725 1105
rect -705 835 -525 1105
rect -505 835 -325 1105
rect -305 835 -125 1105
rect -105 835 75 1105
rect 95 840 255 1105
rect 95 835 135 840
rect -740 820 135 835
rect 235 835 255 840
rect 275 835 305 1105
rect 325 835 865 1105
rect 885 835 1245 1105
rect 1265 835 1425 1105
rect 1445 835 1475 1105
rect 1495 850 2055 1105
rect 2075 850 2090 1120
rect 1495 835 2090 850
rect 235 820 2090 835
rect 165 800 205 810
rect 165 780 175 800
rect 195 785 205 800
rect 195 780 2090 785
rect -25 770 15 780
rect 165 770 2090 780
rect -25 750 -15 770
rect 5 755 15 770
rect 5 750 2090 755
rect -25 740 2090 750
rect -740 695 2090 710
rect -740 425 -325 695
rect -305 425 -125 695
rect -105 425 75 695
rect 95 425 255 695
rect 275 425 305 695
rect 325 425 865 695
rect 885 425 1245 695
rect 1265 425 1425 695
rect 1445 425 1475 695
rect 1495 680 2090 695
rect 1495 425 2055 680
rect -740 410 2055 425
rect 2075 410 2090 680
rect -740 245 2090 410
rect -740 -25 -325 245
rect -65 -25 -35 245
rect -15 -25 565 245
rect 585 -25 1165 245
rect 1185 -25 1765 245
rect 1785 -25 1815 245
rect 2075 -25 2090 245
rect -740 -40 2090 -25
<< labels >>
flabel metal1 2090 750 2090 750 3 FreeSans 160 0 0 0 Vb
port 1 e
flabel locali 2090 720 2090 720 3 FreeSans 160 0 0 0 Vcn
port 2 e
flabel locali 2090 810 2090 810 3 FreeSans 160 0 0 0 Vcp
port 3 e
flabel metal1 2090 775 2090 775 3 FreeSans 160 0 0 0 Vbp
port 4 e
flabel metal1 -740 1175 -740 1175 7 FreeSans 160 0 0 0 VP
port 5 w
flabel metal1 -740 355 -740 355 7 FreeSans 160 0 0 0 VN
port 6 w
<< end >>
